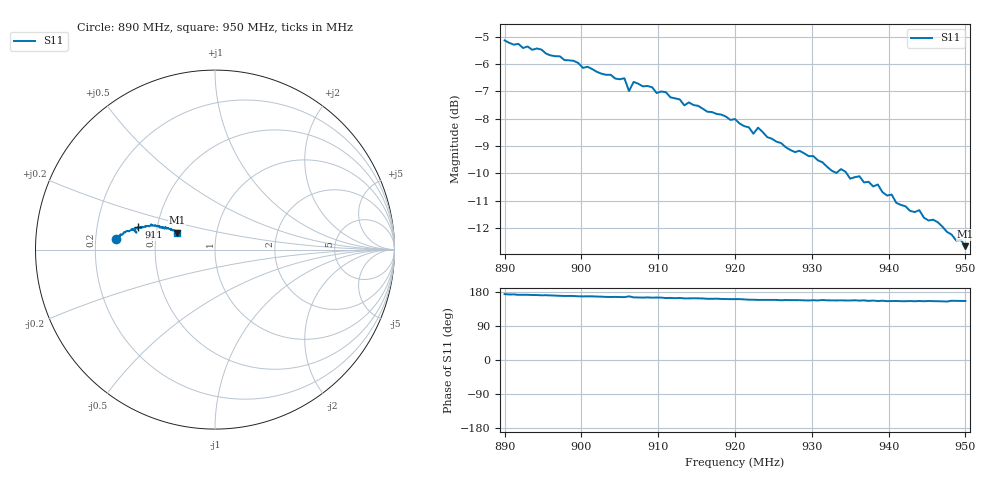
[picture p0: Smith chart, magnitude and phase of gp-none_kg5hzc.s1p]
# HZ S RI R 50
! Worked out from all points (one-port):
!   101 points, 890 MHz to 950 MHz, reference 50 ohm
!   lowest |S11| = -12.7 dB at 950 MHz (marker M1), VSWR 1.61, Z = 32 + j6.43 ohm
!   |S11| at or under -10 dB: 934.5 MHz to end of sweep
!   S11 on the Smith chart (normalised r, x): 890 MHz: 0.29, +0.05; 911 MHz: 0.39, +0.12; 950 MHz: 0.64, +0.13
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8.9e8  -0.5507 0.0585
8.918e8  -0.5405 0.076
8.978e8  -0.5003 0.0977
9.05e8  -0.4565 0.1128
9.056e8  -0.458 0.1148
9.062e8  -0.4376 0.0934
9.068e8  -0.4498 0.1179
9.098e8  -0.4283 0.116
9.11e8  -0.4267 0.127
9.128e8  -0.4148 0.1205
9.134e8  -0.402 0.126
9.14e8  -0.4071 0.1273
9.2e8  -0.3751 0.1316
9.224e8  -0.3492 0.1331
9.23e8  -0.3567 0.1403
9.278e8  -0.3207 0.1295
9.302e8  -0.3148 0.1286
9.332e8  -0.2918 0.1231
9.338e8  -0.2972 0.1239
9.35e8  -0.2846 0.1208
9.362e8  -0.287 0.1234
9.368e8  -0.2808 0.1174
9.386e8  -0.2746 0.1248
9.428e8  -0.2459 0.1115
9.44e8  -0.2468 0.1112
9.446e8  -0.2379 0.1105
9.464e8  -0.2334 0.1085
9.5e8  -0.2123 0.0951
